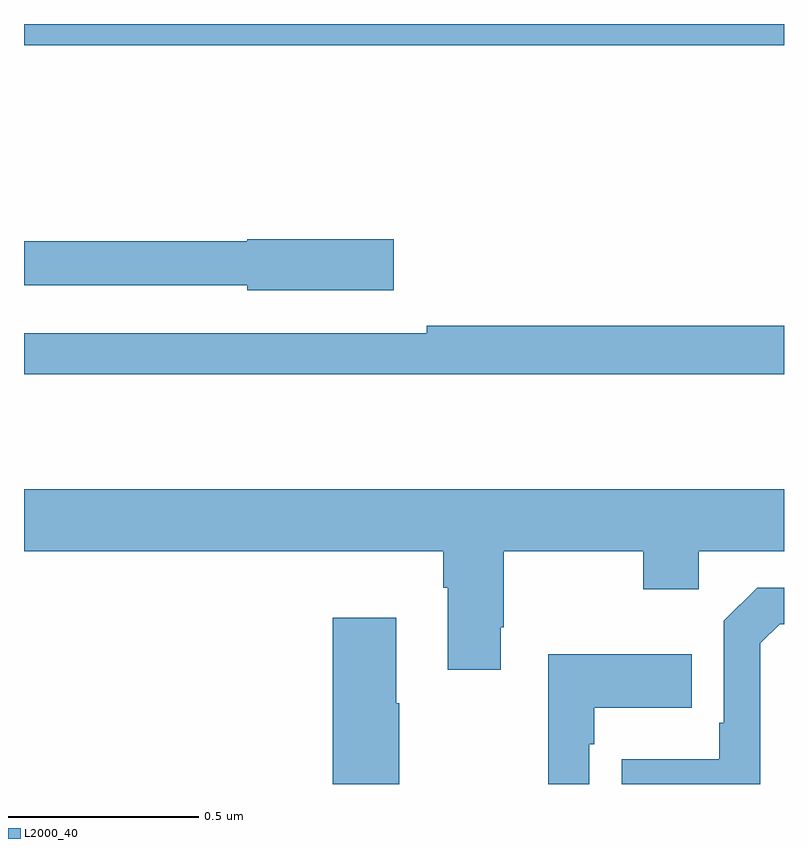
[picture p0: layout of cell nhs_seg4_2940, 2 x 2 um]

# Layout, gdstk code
import gdstk
lib = gdstk.Library(unit=1e-6, precision=1e-09)
def R(c, l, rs):  # rectangles x0, y0, x1, y1
    for r in rs: c.add(gdstk.rectangle(r[:2], r[2:], *l))
def P(c, l, *ps):  # polygons
    for p in ps: c.add(gdstk.Polygon(p, *l))
L2000_40 = (2000, 40)

nhs_seg4_2940 = lib.new_cell('nhs_seg4_2940')
R(nhs_seg4_2940, L2000_40, [(147,772.844,149,772.9)])
P(nhs_seg4_2940, L2000_40, [(147.973,772.334),(147.588,772.334),(147.588,772.328),(147,772.328),(147,772.212),(147.588,772.212),(147.588,772.199),(147.973,772.199)],
  [(149,772.106),(148.06,772.106),(148.06,772.086),(147,772.086),(147,771.978),(149,771.978)],
  [(148.255,771.313),(148.263,771.313),(148.263,771.512),(148.63,771.512),(148.63,771.413),(148.776,771.413),(148.776,771.512),(149,771.512),(149,771.676),(147,771.676),(147,771.512),(148.103,771.512),(148.103,771.416),(148.115,771.416),(148.115,771.201),(148.255,771.201)],
  [(148.938,771.27),(148.989,771.321),(149,771.321),(149,771.417),(148.929,771.417),(148.842,771.33),(148.842,771.061),(148.83,771.061),(148.83,770.965),(148.573,770.965),(148.573,770.9),(148.938,770.9)],
  [(147.987,771.113),(147.979,771.113),(147.979,771.337),(147.812,771.337),(147.812,770.9),(147.987,770.9)],
  [(148.488,771.005),(148.501,771.005),(148.501,771.101),(148.757,771.101),(148.757,771.241),(148.38,771.241),(148.38,770.9),(148.488,770.9)])

lib.write_gds('nhs_seg4_2940.gds')
